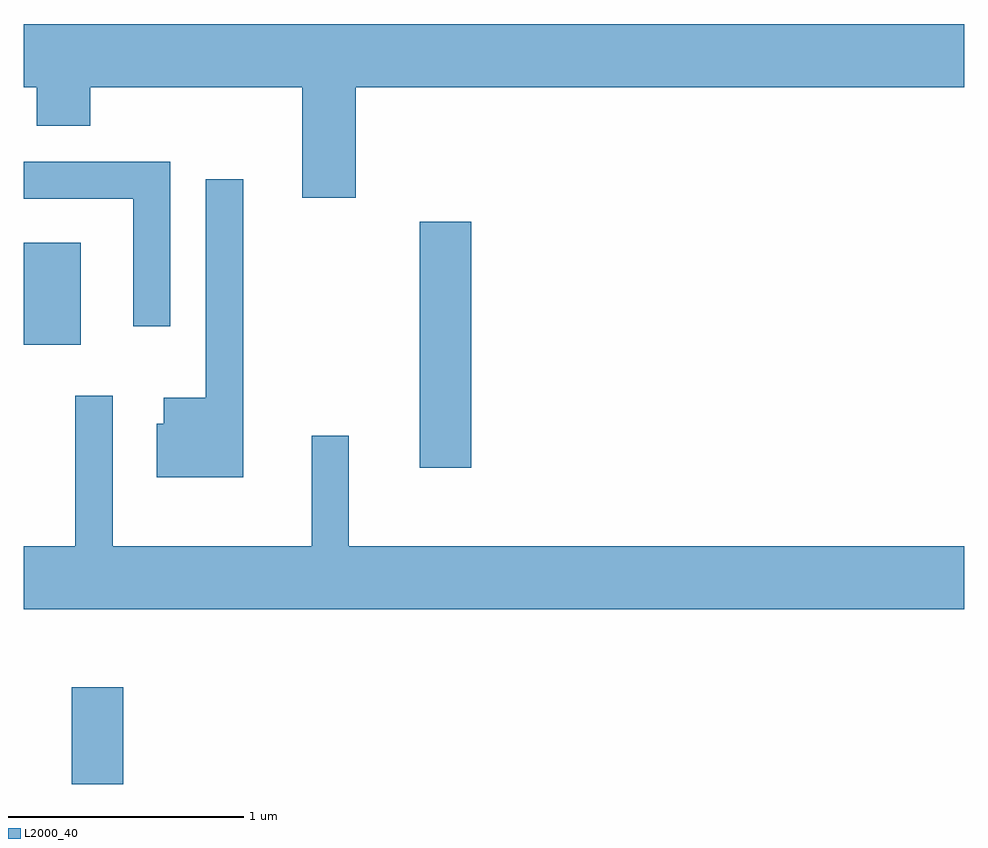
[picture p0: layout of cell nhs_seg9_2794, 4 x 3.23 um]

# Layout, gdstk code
import gdstk
lib = gdstk.Library(unit=1e-6, precision=1e-09)
def R(c, l, rs):  # rectangles x0, y0, x1, y1
    for r in rs: c.add(gdstk.rectangle(r[:2], r[2:], *l))
def P(c, l, *ps):  # polygons
    for p in ps: c.add(gdstk.Polygon(p, *l))
L2000_40 = (2000, 40)

nhs_seg9_2794 = lib.new_cell('nhs_seg9_2794')
R(nhs_seg9_2794, L2000_40, [(267.816,1964.432,268.034,1964.844), (269.296,1965.776,269.514,1966.824), (267.611,1966.301,267.854,1966.734)])
P(nhs_seg9_2794, L2000_40, [(269.024,1967.396),(271.611,1967.396),(271.611,1967.664),(267.611,1967.664),(267.611,1967.396),(267.666,1967.396),(267.666,1967.231),(267.894,1967.231),(267.894,1967.396),(268.796,1967.396),(268.796,1966.926),(269.024,1966.926)],
  [(268.234,1967.079),(267.611,1967.079),(267.611,1966.921),(268.076,1966.921),(268.076,1966.378),(268.234,1966.378)],
  [(268.544,1967.003),(268.386,1967.003),(268.386,1966.074),(268.206,1966.074),(268.206,1965.964),(268.176,1965.964),(268.176,1965.736),(268.544,1965.736)],
  [(271.611,1965.444),(268.994,1965.444),(268.994,1965.913),(268.836,1965.913),(268.836,1965.444),(267.989,1965.444),(267.989,1966.083),(267.831,1966.083),(267.831,1965.444),(267.611,1965.444),(267.611,1965.176),(271.611,1965.176)])

lib.write_gds('nhs_seg9_2794.gds')
